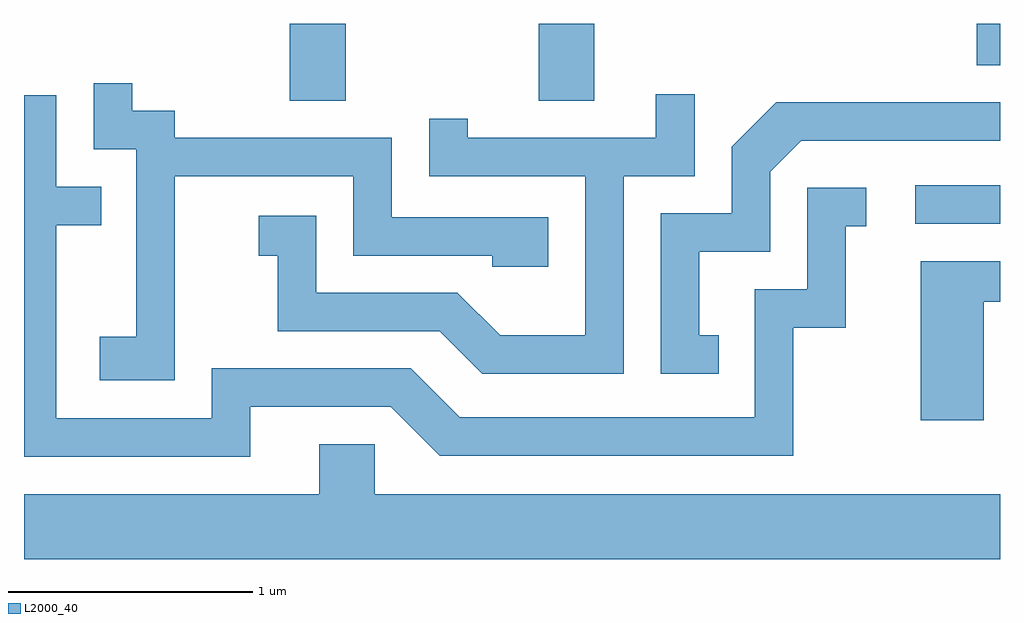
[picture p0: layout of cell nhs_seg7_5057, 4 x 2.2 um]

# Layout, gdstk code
import gdstk
lib = gdstk.Library(unit=1e-6, precision=1e-09)
def R(c, l, rs):  # rectangles x0, y0, x1, y1
    for r in rs: c.add(gdstk.rectangle(r[:2], r[2:], *l))
def P(c, l, *ps):  # polygons
    for p in ps: c.add(gdstk.Polygon(p, *l))
L2000_40 = (2000, 40)

nhs_seg7_5057 = lib.new_cell('nhs_seg7_5057')
R(nhs_seg7_5057, L2000_40, [(343.263,1753.431,343.611,1753.589), (340.701,1753.936,340.929,1754.252), (341.721,1753.936,341.949,1754.252), (343.516,1754.081,343.611,1754.252)])
P(nhs_seg7_5057, L2000_40, [(340.229,1753.626),(340.961,1753.626),(340.961,1753.301),(341.531,1753.301),(341.531,1753.256),(341.759,1753.256),(341.759,1753.459),(341.119,1753.459),(341.119,1753.784),(340.229,1753.784),(340.229,1753.894),(340.054,1753.894),(340.054,1754.008),(339.896,1754.008),(339.896,1753.736),(340.071,1753.736),(340.071,1752.969),(339.921,1752.969),(339.921,1752.791),(340.229,1752.791)],
  [(342.069,1753.626),(342.359,1753.626),(342.359,1753.963),(342.201,1753.963),(342.201,1753.784),(341.429,1753.784),(341.429,1753.863),(341.271,1753.863),(341.271,1753.626),(341.911,1753.626),(341.911,1752.974),(341.562,1752.974),(341.387,1753.149),(340.809,1753.149),(340.809,1753.464),(340.573,1753.464),(340.573,1753.301),(340.651,1753.301),(340.651,1752.991),(341.314,1752.991),(341.489,1752.816),(342.069,1752.816)],
  [(340.539,1752.681),(341.114,1752.681),(341.314,1752.481),(342.764,1752.481),(342.764,1753.006),(342.979,1753.006),(342.979,1753.421),(343.063,1753.421),(343.063,1753.579),(342.821,1753.579),(342.821,1753.164),(342.606,1753.164),(342.606,1752.639),(341.397,1752.639),(341.197,1752.839),(340.381,1752.839),(340.381,1752.634),(339.744,1752.634),(339.744,1753.426),(339.928,1753.426),(339.928,1753.584),(339.744,1753.584),(339.744,1753.959),(339.611,1753.959),(339.611,1752.476),(340.539,1752.476)],
  [(342.458,1752.974),(342.379,1752.974),(342.379,1753.316),(342.669,1753.316),(342.669,1753.644),(342.797,1753.771),(343.611,1753.771),(343.611,1753.929),(342.694,1753.929),(342.511,1753.747),(342.511,1753.474),(342.221,1753.474),(342.221,1752.816),(342.458,1752.816)],
  [(343.544,1753.111),(343.611,1753.111),(343.611,1753.279),(343.286,1753.279),(343.286,1752.626),(343.544,1752.626)],
  [(343.611,1752.324),(341.049,1752.324),(341.049,1752.529),(340.821,1752.529),(340.821,1752.324),(339.611,1752.324),(339.611,1752.056),(343.611,1752.056)])

lib.write_gds('nhs_seg7_5057.gds')
